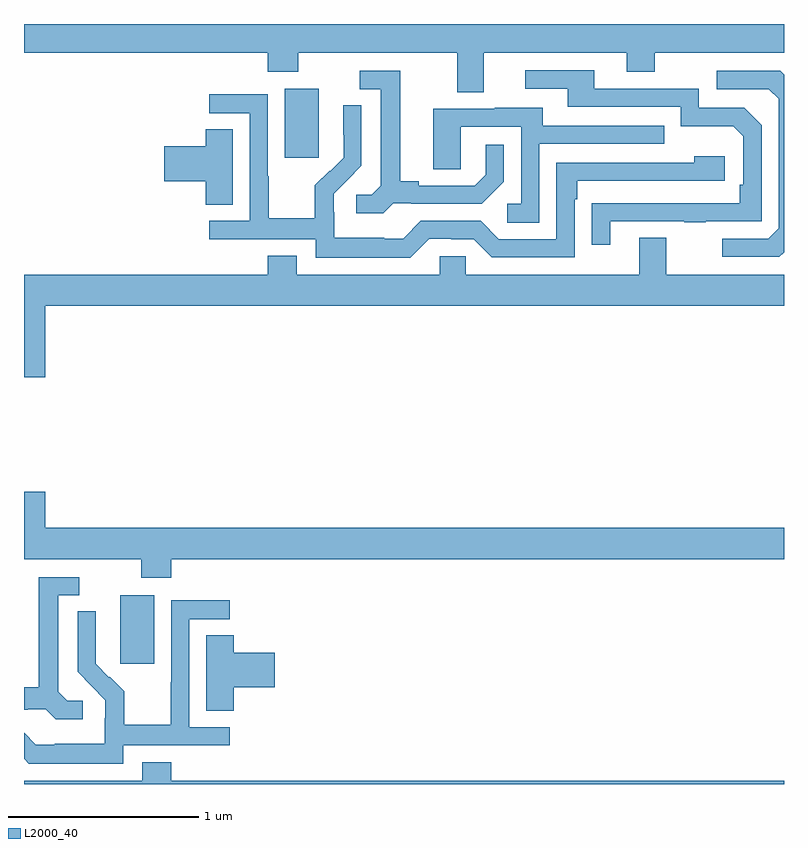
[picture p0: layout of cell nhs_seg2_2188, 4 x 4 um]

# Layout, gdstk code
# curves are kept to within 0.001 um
import gdstk
lib = gdstk.Library(unit=1e-6, precision=1e-09)
def R(c, l, rs):  # rectangles x0, y0, x1, y1
    for r in rs: c.add(gdstk.rectangle(r[:2], r[2:], *l))
def P(c, l, *ps):  # polygons
    for p in ps: c.add(gdstk.Polygon(p, *l))
L2000_40 = (2000, 40)

nhs_seg2_2188 = lib.new_cell('nhs_seg2_2188')
R(nhs_seg2_2188, L2000_40, [(225.506,632.433,225.685,632.794), (226.373,635.097,226.552,635.458)])
P(nhs_seg2_2188, L2000_40, [(227.419,635.648),(228.173,635.648),(228.173,635.549),(228.321,635.549),(228.321,635.648),(229,635.648),(229,635.8),(225,635.8),(225,635.648),(226.283,635.648),(226.283,635.549),(226.443,635.549),(226.443,635.648),(227.279,635.648),(227.279,635.44),(227.419,635.44)],
  [(228.085,634.761),(228.475,634.761),(228.475,634.756),(228.587,634.756),(228.587,634.761),(228.882,634.761),(228.882,635.268),(228.792,635.358),(228.552,635.358),(228.552,635.46),(228.001,635.46),(228.001,635.556),(227.637,635.556),(227.637,635.46),(227.861,635.46),(227.861,635.364),(228.456,635.364),(228.456,635.261),(228.733,635.261),(228.786,635.208),(228.786,634.954),(228.766,634.954),(228.766,634.857),(227.989,634.856),(227.989,634.638),(228.085,634.638)],
  [(229,634.6),(229,635.534),(228.981,635.553),(228.645,635.553),(228.645,635.457),(228.921,635.457),(228.972,635.406),(228.972,634.725),(228.918,634.671),(228.675,634.671),(228.675,634.575),(228.975,634.575)],
  [(226.944,634.857),(227.038,634.857),(227.038,634.854),(227.41,634.854),(227.526,634.97),(227.526,635.164),(227.429,635.164),(227.429,635.007),(227.372,634.95),(227.077,634.95),(227.077,634.973),(226.981,634.973),(226.981,635.553),(226.767,635.553),(226.767,635.457),(226.877,635.457),(226.877,634.949),(226.83,634.902),(226.749,634.902),(226.749,634.805),(226.892,634.805)],
  [(227.133,634.671),(227.249,634.671),(227.249,634.668),(227.367,634.668),(227.463,634.572),(227.898,634.572),(227.898,634.877),(227.911,634.877),(227.911,634.974),(228.688,634.974),(228.688,635.104),(228.527,635.104),(228.527,635.07),(227.802,635.07),(227.802,634.668),(227.499,634.668),(227.403,634.764),(227.088,634.764),(226.995,634.671),(226.895,634.671),(226.895,634.675),(226.632,634.675),(226.632,634.809),(226.63,634.809),(226.63,634.906),(226.776,635.054),(226.776,635.372),(226.68,635.372),(226.68,635.218),(226.682,635.218),(226.682,635.096),(226.611,635.025),(226.608,635.028),(226.531,634.951),(226.531,634.777),(226.287,634.777),(226.287,635),(226.284,635),(226.284,635.43),(225.975,635.43),(225.975,635.331),(226.188,635.331),(226.188,634.764),(225.975,634.764),(225.975,634.668),(226.536,634.668),(226.536,634.571),(227.033,634.571)],
  [(227.712,635.169),(228.371,635.169),(228.371,635.265),(227.731,635.265),(227.731,635.359),(227.477,635.359),(227.477,635.355),(227.153,635.355),(227.153,635.035),(227.298,635.035),(227.298,635.259),(227.616,635.259),(227.616,634.854),(227.544,634.854),(227.544,634.753),(227.712,634.753)],
  [(226.099,635.246),(225.956,635.246),(225.956,635.156),(225.738,635.156),(225.738,634.973),(225.956,634.973),(225.956,634.849),(226.099,634.849)],
  [(225.112,634.316),(229,634.316),(229,634.48),(228.379,634.48),(228.379,634.675),(228.239,634.675),(228.239,634.48),(227.325,634.48),(227.325,634.578),(227.187,634.578),(227.187,634.48),(226.435,634.48),(226.435,634.579),(226.283,634.579),(226.283,634.48),(225,634.48),(225,633.942),(225.112,633.942)],
  [(225.776,632.984),(229,632.984),(229,633.148),(225.112,633.148),(225.112,633.337),(225,633.337),(225,632.984),(225.616,632.984),(225.616,632.885),(225.776,632.885)],
  [(225.31,632.238),(225.228,632.238),(225.181,632.285),(225.181,632.793),(225.292,632.793),(225.292,632.889),(225.077,632.889),(225.077,632.309),(225,632.309),(225,632.19),(225.02,632.19),(225.02,632.193),(225.114,632.193),(225.166,632.141),(225.31,632.141)],
  [(225.522,632.004),(226.084,632.004),(226.084,632.1),(225.87,632.1),(225.87,632.667),(226.084,632.667),(226.084,632.766),(225.774,632.766),(225.774,632.336),(225.772,632.336),(225.772,632.113),(225.527,632.113),(225.527,632.287),(225.45,632.364),(225.447,632.361),(225.377,632.432),(225.378,632.708),(225.282,632.708),(225.282,632.39),(225.428,632.242),(225.428,632.145),(225.426,632.145),(225.426,632.011),(225.163,632.011),(225.163,632.007),(225.063,632.007),(225,632.07),(225,631.932),(225.025,631.907),(225.522,631.907)],
  [(226.103,632.309),(226.321,632.309),(226.321,632.492),(226.103,632.492),(226.103,632.582),(225.959,632.582),(225.959,632.185),(226.103,632.185)],
  [(229,631.816),(225.776,631.816),(225.776,631.915),(225.623,631.915),(225.623,631.816),(225,631.816),(225,631.8),(229,631.8)])

lib.write_gds('nhs_seg2_2188.gds')
